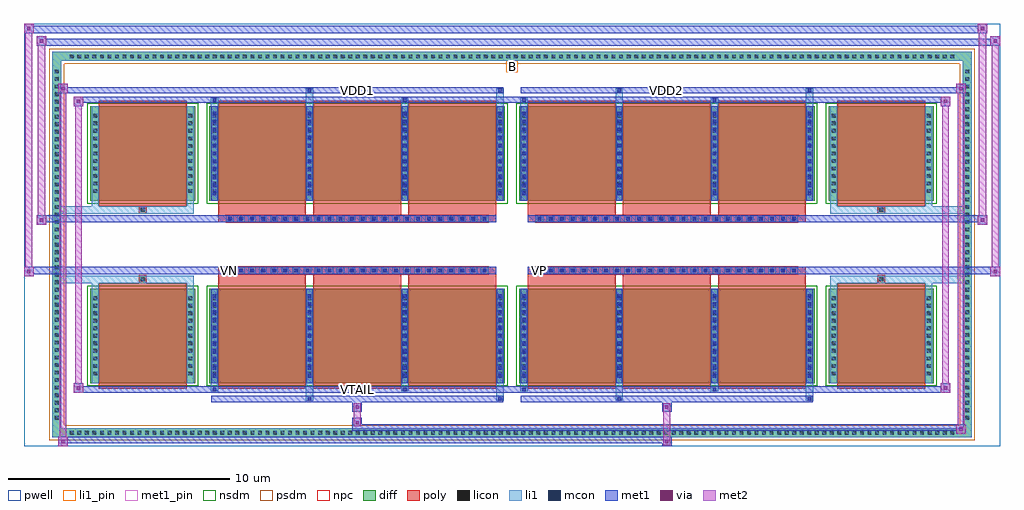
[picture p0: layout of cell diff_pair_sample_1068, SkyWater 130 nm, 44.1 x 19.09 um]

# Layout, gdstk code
import gdstk
lib = gdstk.Library(unit=1e-6, precision=5e-09)
def R(c, l, rs):  # rectangles x0, y0, x1, y1
    for r in rs: c.add(gdstk.rectangle(r[:2], r[2:], *l))
def A(c, l, x, y, w, h, nx, ny, dx, dy):  # array of equal rectangles
    R(c, l, [(x+i*dx, y+j*dy, x+i*dx+w, y+j*dy+h) for i in range(nx) for j in range(ny)])
def P(c, l, *ps):  # polygons
    for p in ps: c.add(gdstk.Polygon(p, *l))
pwell = (64, 44)
diff = (65, 20)
poly = (66, 20)
licon = (66, 44)
li1_pin = (67, 16)
li1 = (67, 20)
mcon = (67, 44)
met1_pin = (68, 16)
met1 = (68, 20)
via = (68, 44)
met2 = (69, 20)
nsdm = (93, 44)
psdm = (94, 20)
npc = (95, 20)

diff_pair_sample_1068 = lib.new_cell('diff_pair_sample_1068')
R(diff_pair_sample_1068, pwell, [(-22.05,-9.11,22.05,9.98), (-19.37,-7.3,-0.01,-0.8), (0.01,-7.3,19.37,-0.8), (-19.37,0.8,-0.01,7.3), (0.01,0.8,19.37,7.3)])
A(diff_pair_sample_1068, diff, -20.095, -8.71, 0.41, 0.41, 118, 2, 0.34, 17.01)
A(diff_pair_sample_1068, diff, -20.78, -8.025, 0.41, 0.41, 1, 47, 0, 0.34)
A(diff_pair_sample_1068, diff, 20.37, -8.025, 0.41, 0.41, 1, 47, 0, 0.34)
R(diff_pair_sample_1068, diff, [(-20.095,-8.71,20.095,-8.3), (-20.78,-8.025,-20.37,8.025), (20.37,-8.025,20.78,8.025), (-19.06,-6.255,-14.31,-1.985), (-13.67,-6.255,-0.32,-1.985), (0.32,-6.255,13.67,-1.985), (14.31,-6.255,19.06,-1.985), (-19.06,1.985,-14.31,6.255), (-13.67,1.985,-0.32,6.255), (0.32,1.985,13.67,6.255), (14.31,1.985,19.06,6.255), (-20.095,8.3,20.095,8.71)])
P(diff_pair_sample_1068, diff, [(20.78,8.71),(-20.78,8.71),(-20.78,-8.3),(-20.37,-8.3),(-20.37,8.3),(20.37,8.3),(20.37,-8.3),(-20.37,-8.3),(-20.78,-8.3),(-20.78,-8.71),(20.78,-8.71)])
A(diff_pair_sample_1068, poly, -13.28, -6.505, 3.97, 4.77, 3, 2, 4.3, 8.24)
A(diff_pair_sample_1068, poly, 0.71, -6.505, 3.97, 4.77, 3, 2, 4.3, 8.24)
A(diff_pair_sample_1068, poly, -13.28, -1.735, 3.97, 0.405, 3, 2, 4.3, 3.065)
A(diff_pair_sample_1068, poly, 0.71, -1.735, 3.97, 0.405, 3, 2, 4.3, 3.065)
A(diff_pair_sample_1068, poly, -12.91, -1.33, 0.33, 0.33, 24, 2, 0.5, 2.33)
A(diff_pair_sample_1068, poly, 1.08, -1.33, 0.33, 0.33, 24, 2, 0.5, 2.33)
R(diff_pair_sample_1068, poly, [(-18.67,-6.505,-14.7,-1.735), (14.7,-6.505,18.67,-1.735), (-16.85,-1.735,-16.52,-1.405), (-16.85,-1.735,-16.52,-1.405), (16.52,-1.735,16.85,-1.405), (16.52,-1.735,16.85,-1.405), (-13.28,-1.33,-0.71,-1), (0.71,-1.33,13.28,-1), (-13.28,1,-0.71,1.33), (0.71,1,13.28,1.33), (-16.85,1.405,-16.52,1.735), (-16.85,1.405,-16.52,1.735), (16.52,1.405,16.85,1.735), (16.52,1.405,16.85,1.735), (-18.67,1.735,-14.7,6.505), (14.7,1.735,18.67,6.505)])
A(diff_pair_sample_1068, licon, -19.975, -8.59, 0.17, 0.17, 118, 2, 0.34, 17.01)
A(diff_pair_sample_1068, licon, -20.66, -7.905, 0.17, 0.17, 1, 47, 0, 0.34)
A(diff_pair_sample_1068, licon, 20.49, -7.905, 0.17, 0.17, 1, 47, 0, 0.34)
A(diff_pair_sample_1068, licon, -18.92, -5.905, 0.17, 0.17, 1, 11, 0, 0.34)
A(diff_pair_sample_1068, licon, -14.62, -5.905, 0.17, 0.17, 1, 11, 0, 0.34)
A(diff_pair_sample_1068, licon, -13.53, -5.905, 0.17, 0.17, 4, 11, 4.3, 0.34)
A(diff_pair_sample_1068, licon, 0.46, -5.905, 0.17, 0.17, 4, 11, 4.3, 0.34)
A(diff_pair_sample_1068, licon, 14.45, -5.905, 0.17, 0.17, 1, 11, 0, 0.34)
A(diff_pair_sample_1068, licon, 18.75, -5.905, 0.17, 0.17, 1, 11, 0, 0.34)
A(diff_pair_sample_1068, licon, -12.83, -1.25, 0.17, 0.17, 24, 2, 0.5, 2.33)
A(diff_pair_sample_1068, licon, 1.16, -1.25, 0.17, 0.17, 24, 2, 0.5, 2.33)
A(diff_pair_sample_1068, licon, -18.92, 2.335, 0.17, 0.17, 1, 11, 0, 0.34)
A(diff_pair_sample_1068, licon, -14.62, 2.335, 0.17, 0.17, 1, 11, 0, 0.34)
A(diff_pair_sample_1068, licon, -13.53, 2.335, 0.17, 0.17, 4, 11, 4.3, 0.34)
A(diff_pair_sample_1068, licon, 0.46, 2.335, 0.17, 0.17, 4, 11, 4.3, 0.34)
A(diff_pair_sample_1068, licon, 14.45, 2.335, 0.17, 0.17, 1, 11, 0, 0.34)
A(diff_pair_sample_1068, licon, 18.75, 2.335, 0.17, 0.17, 1, 11, 0, 0.34)
R(diff_pair_sample_1068, licon, [(-16.77,-1.655,-16.6,-1.485), (16.6,-1.655,16.77,-1.485), (-16.77,1.485,-16.6,1.655), (16.6,1.485,16.77,1.655)])
R(diff_pair_sample_1068, li1_pin, [(-0.25,7.8,0.25,8.3)])
A(diff_pair_sample_1068, li1, -20.055, -8.67, 0.33, 0.33, 118, 2, 0.34, 17.01)
A(diff_pair_sample_1068, li1, -20.74, -7.985, 0.33, 0.33, 1, 47, 0, 0.34)
A(diff_pair_sample_1068, li1, 20.41, -7.985, 0.33, 0.33, 1, 47, 0, 0.34)
A(diff_pair_sample_1068, li1, -13.61, -6.255, 0.33, 4.27, 4, 2, 4.3, 8.24)
A(diff_pair_sample_1068, li1, 0.38, -6.255, 0.33, 4.27, 4, 2, 4.3, 8.24)
A(diff_pair_sample_1068, li1, -13.53, -6.005, 0.17, 0.17, 4, 11, 4.3, 0.36)
A(diff_pair_sample_1068, li1, -13.53, -6.005, 0.17, 3.77, 4, 2, 4.3, 8.24)
A(diff_pair_sample_1068, li1, 0.46, -6.005, 0.17, 0.17, 4, 11, 4.3, 0.36)
A(diff_pair_sample_1068, li1, 0.46, -6.005, 0.17, 3.77, 4, 2, 4.3, 8.24)
A(diff_pair_sample_1068, li1, -19, -5.985, 0.33, 0.33, 1, 11, 0, 0.34)
A(diff_pair_sample_1068, li1, -14.7, -5.985, 0.33, 0.33, 1, 11, 0, 0.34)
A(diff_pair_sample_1068, li1, -13.61, -5.985, 0.33, 0.33, 4, 11, 4.3, 0.34)
A(diff_pair_sample_1068, li1, 0.38, -5.985, 0.33, 0.33, 4, 11, 4.3, 0.34)
A(diff_pair_sample_1068, li1, 14.37, -5.985, 0.33, 0.33, 1, 11, 0, 0.34)
A(diff_pair_sample_1068, li1, 18.67, -5.985, 0.33, 0.33, 1, 11, 0, 0.34)
A(diff_pair_sample_1068, li1, -12.91, -1.33, 0.33, 0.33, 24, 2, 0.5, 2.33)
A(diff_pair_sample_1068, li1, 1.08, -1.33, 0.33, 0.33, 24, 2, 0.5, 2.33)
A(diff_pair_sample_1068, li1, -13.53, 2.235, 0.17, 0.17, 4, 11, 4.3, 0.36)
A(diff_pair_sample_1068, li1, 0.46, 2.235, 0.17, 0.17, 4, 11, 4.3, 0.36)
A(diff_pair_sample_1068, li1, -19, 2.255, 0.33, 0.33, 1, 11, 0, 0.34)
A(diff_pair_sample_1068, li1, -14.7, 2.255, 0.33, 0.33, 1, 11, 0, 0.34)
A(diff_pair_sample_1068, li1, -13.61, 2.255, 0.33, 0.33, 4, 11, 4.3, 0.34)
A(diff_pair_sample_1068, li1, 0.38, 2.255, 0.33, 0.33, 4, 11, 4.3, 0.34)
A(diff_pair_sample_1068, li1, 14.37, 2.255, 0.33, 0.33, 1, 11, 0, 0.34)
A(diff_pair_sample_1068, li1, 18.67, 2.255, 0.33, 0.33, 1, 11, 0, 0.34)
R(diff_pair_sample_1068, li1, [(-20.78,-8.71,-20.37,-8.3), (-20.78,-8.71,-20.37,-8.3), (-20.37,-8.71,20.37,-8.3), (20.37,-8.71,20.78,-8.3), (20.37,-8.71,20.78,-8.3), (-20.78,-8.3,-20.37,8.3), (20.37,-8.3,20.78,8.3), (-9.31,-7.06,-8.98,-6.255), (-9.23,-7.06,-9.06,-6.89), (-0.71,-7.06,-0.38,-6.255), (-0.63,-7.06,-0.46,-6.89), (4.68,-7.06,5.01,-6.255), (4.76,-7.06,4.93,-6.89), (13.28,-7.06,13.61,-6.255), (13.36,-7.06,13.53,-6.89), (-13.61,-6.63,-13.28,-6.255), (-13.53,-6.63,-13.36,-6.46), (-5.01,-6.63,-4.68,-6.255), (-4.93,-6.63,-4.76,-6.46), (0.38,-6.63,0.71,-6.255), (0.46,-6.63,0.63,-6.46), (8.98,-6.63,9.31,-6.255), (9.06,-6.63,9.23,-6.46), (-19,-6.255,-18.67,-1.985), (-14.7,-6.255,-14.37,-1.985), (14.37,-6.255,14.7,-1.985), (18.67,-6.255,19,-1.985), (-19,-1.985,-18.67,-1.405), (-14.7,-1.985,-14.37,-1.405), (14.37,-1.985,14.7,-1.405), (18.67,-1.985,19,-1.405), (-20.78,-1.735,-16.85,-1.405), (-19,-1.735,-16.85,-1.405), (-16.85,-1.735,-16.52,-1.405), (-16.52,-1.735,-14.37,-1.405), (14.37,-1.735,16.52,-1.405), (16.52,-1.735,16.85,-1.405), (16.52,-1.735,20.78,-1.405), (16.85,-1.735,19,-1.405), (-20.78,1.405,-16.85,1.735), (-19,1.405,-16.85,1.735), (-19,1.405,-18.67,1.985), (-16.85,1.405,-16.52,1.735), (-16.52,1.405,-14.37,1.735), (-14.7,1.405,-14.37,1.985), (14.37,1.405,16.52,1.735), (14.37,1.405,14.7,1.985), (16.52,1.405,16.85,1.735), (16.52,1.405,20.78,1.735), (16.85,1.405,19,1.735), (18.67,1.405,19,1.985), (-19,1.985,-18.67,6.255), (-14.7,1.985,-14.37,6.255), (14.37,1.985,14.7,6.255), (18.67,1.985,19,6.255), (-13.61,6.255,-13.28,6.63), (-9.31,6.255,-8.98,7.06), (-5.01,6.255,-4.68,6.63), (-0.71,6.255,-0.38,7.06), (0.38,6.255,0.71,6.63), (4.68,6.255,5.01,7.06), (8.98,6.255,9.31,6.63), (13.28,6.255,13.61,7.06), (-13.53,6.46,-13.36,6.63), (-4.93,6.46,-4.76,6.63), (0.46,6.46,0.63,6.63), (9.06,6.46,9.23,6.63), (-9.23,6.89,-9.06,7.06), (-0.63,6.89,-0.46,7.06), (4.76,6.89,4.93,7.06), (13.36,6.89,13.53,7.06), (-20.78,8.3,-20.37,8.71), (-20.78,8.3,-20.37,8.71), (-20.37,8.3,20.37,8.71), (20.37,8.3,20.78,8.71), (20.37,8.3,20.78,8.71)])
A(diff_pair_sample_1068, mcon, -13.53, -6.005, 0.17, 0.17, 4, 11, 4.3, 0.36)
A(diff_pair_sample_1068, mcon, 0.46, -6.005, 0.17, 0.17, 4, 11, 4.3, 0.36)
A(diff_pair_sample_1068, mcon, -12.83, -1.25, 0.17, 0.17, 24, 2, 0.5, 2.33)
A(diff_pair_sample_1068, mcon, 1.16, -1.25, 0.17, 0.17, 24, 2, 0.5, 2.33)
A(diff_pair_sample_1068, mcon, -13.53, 2.235, 0.17, 0.17, 4, 11, 4.3, 0.36)
A(diff_pair_sample_1068, mcon, 0.46, 2.235, 0.17, 0.17, 4, 11, 4.3, 0.36)
R(diff_pair_sample_1068, mcon, [(-9.23,-7.06,-9.06,-6.89), (-0.63,-7.06,-0.46,-6.89), (4.76,-7.06,4.93,-6.89), (13.36,-7.06,13.53,-6.89), (-13.53,-6.63,-13.36,-6.46), (-4.93,-6.63,-4.76,-6.46), (0.46,-6.63,0.63,-6.46), (9.06,-6.63,9.23,-6.46), (-13.53,6.46,-13.36,6.63), (-4.93,6.46,-4.76,6.63), (0.46,6.46,0.63,6.63), (9.06,6.46,9.23,6.63), (-9.23,6.89,-9.06,7.06), (-0.63,6.89,-0.46,7.06), (4.76,6.89,4.93,7.06), (13.36,6.89,13.53,7.06)])
R(diff_pair_sample_1068, met1_pin, [(-7.13,-6.67,-6.86,-6.4), (-12.88,-1.29,-12.61,-1.02), (1.11,-1.29,1.38,-1.02), (-7.13,6.85,-6.86,7.12), (6.86,6.85,7.13,7.12)])
A(diff_pair_sample_1068, met1, -13.59, -6.255, 0.29, 4.27, 4, 2, 4.3, 8.24)
A(diff_pair_sample_1068, met1, 0.4, -6.255, 0.29, 4.27, 4, 2, 4.3, 8.24)
A(diff_pair_sample_1068, met1, -13.59, -6.065, 0.29, 0.29, 4, 11, 4.3, 0.36)
A(diff_pair_sample_1068, met1, 0.4, -6.065, 0.29, 0.29, 4, 11, 4.3, 0.36)
A(diff_pair_sample_1068, met1, -12.89, -1.31, 0.29, 0.29, 24, 2, 0.5, 2.33)
A(diff_pair_sample_1068, met1, 1.1, -1.31, 0.29, 0.29, 24, 2, 0.5, 2.33)
A(diff_pair_sample_1068, met1, -13.59, 2.175, 0.29, 0.29, 4, 11, 4.3, 0.36)
A(diff_pair_sample_1068, met1, 0.4, 2.175, 0.29, 0.29, 4, 11, 4.3, 0.36)
R(diff_pair_sample_1068, met1, [(-20.51,-9.11,-20.08,-8.68), (6.78,-9.11,7.21,-8.68), (-20.51,-8.97,7.21,-8.68), (20.08,-8.54,20.51,-8.11), (-7.21,-8.4,20.51,-8.11), (-7.21,-8.26,-6.78,-7.83), (-7.21,-7.55,-6.78,-7.12), (6.78,-7.55,7.21,-7.12), (-13.59,-7.12,-0.4,-6.83), (-9.29,-7.12,-9,-6.83), (-0.69,-7.12,-0.4,-6.83), (0.4,-7.12,13.59,-6.83), (4.7,-7.12,4.99,-6.83), (13.3,-7.12,13.59,-6.83), (-19.8,-6.69,-19.37,-6.26), (-19.8,-6.69,-13.59,-6.4), (-13.59,-6.69,-13.3,-6.4), (-13.59,-6.69,-0.4,-6.4), (-4.99,-6.69,-4.7,-6.4), (-0.4,-6.69,0.4,-6.4), (0.4,-6.69,0.69,-6.4), (0.4,-6.69,13.59,-6.4), (9,-6.69,9.29,-6.4), (13.59,-6.69,19.8,-6.4), (19.37,-6.69,19.8,-6.26), (-22.05,-1.43,-21.62,-1), (21.62,-1.43,22.05,-1), (-22.05,-1.33,-0.71,-1), (-13.28,-1.33,-0.71,-1), (0.71,-1.33,13.28,-1), (0.71,-1.33,22.05,-1), (-21.48,0.9,-21.05,1.33), (21.05,0.9,21.48,1.33), (-21.48,1,-13.28,1.33), (-13.28,1,-0.71,1.33), (0.71,1,13.28,1.33), (13.28,1,21.48,1.33), (-19.8,6.26,-19.37,6.69), (19.37,6.26,19.8,6.69), (-19.8,6.4,-13.59,6.69), (-13.59,6.4,-13.3,6.69), (-13.59,6.4,-0.4,6.69), (-4.99,6.4,-4.7,6.69), (-0.4,6.4,0.4,6.69), (0.4,6.4,0.69,6.69), (0.4,6.4,13.59,6.69), (9,6.4,9.29,6.69), (13.59,6.4,19.8,6.69), (-20.51,6.83,-20.08,7.26), (-20.51,6.83,-13.59,7.12), (-13.59,6.83,-0.4,7.12), (-9.29,6.83,-9,7.12), (-0.69,6.83,-0.4,7.12), (0.4,6.83,13.59,7.12), (4.7,6.83,4.99,7.12), (13.3,6.83,13.59,7.12), (13.59,6.83,20.51,7.12), (20.08,6.83,20.51,7.26), (-21.48,8.98,-21.05,9.41), (-21.48,8.98,-19.37,9.31), (-19.37,8.98,19.37,9.31), (19.37,8.98,22.05,9.31), (21.62,8.98,22.05,9.41), (-22.05,9.55,-21.62,9.98), (-22.05,9.55,-19.37,9.88), (-19.37,9.55,19.37,9.88), (19.37,9.55,21.48,9.88), (21.05,9.55,21.48,9.98)])
R(diff_pair_sample_1068, via, [(-20.37,-8.97,-20.22,-8.82), (6.92,-8.97,7.07,-8.82), (20.22,-8.4,20.37,-8.25), (-7.07,-8.12,-6.92,-7.97), (-7.07,-7.41,-6.92,-7.26), (6.92,-7.41,7.07,-7.26), (-19.66,-6.55,-19.51,-6.4), (19.51,-6.55,19.66,-6.4), (-21.91,-1.29,-21.76,-1.14), (21.76,-1.29,21.91,-1.14), (-21.34,1.04,-21.19,1.19), (21.19,1.04,21.34,1.19), (-19.66,6.4,-19.51,6.55), (19.51,6.4,19.66,6.55), (-20.37,6.97,-20.22,7.12), (20.22,6.97,20.37,7.12), (-21.34,9.12,-21.19,9.27), (21.76,9.12,21.91,9.27), (-21.91,9.69,-21.76,9.84), (21.19,9.69,21.34,9.84)])
R(diff_pair_sample_1068, met2, [(-20.51,-9.11,-20.08,-8.68), (-20.44,-9.11,-20.15,7.26), (-20.15,-9.11,-20.08,-8.68), (-20.46,-9.06,-20.13,-8.73), (6.83,-9.06,7.16,-8.73), (6.83,-8.73,7.16,-7.5), (20.08,-8.54,20.51,-8.11), (20.15,-8.54,20.44,7.26), (20.44,-8.54,20.51,-8.11), (20.13,-8.49,20.46,-8.16), (-7.16,-8.21,-6.83,-7.88), (-7.16,-7.88,-6.83,-7.5), (-7.16,-7.5,-6.83,-7.17), (6.83,-7.5,7.16,-7.17), (-19.8,-6.69,-19.37,-6.26), (-19.73,-6.69,-19.44,6.69), (-19.44,-6.69,-19.37,-6.26), (19.37,-6.69,19.8,-6.26), (19.44,-6.69,19.73,6.69), (19.73,-6.69,19.8,-6.26), (-19.75,-6.64,-19.42,-6.31), (19.42,-6.64,19.75,-6.31), (-22.05,-1.43,-21.62,-1), (-22,-1.43,-21.67,9.98), (-21.67,-1.43,-21.62,-1), (21.62,-1.43,22.05,-1), (21.67,-1.43,22,9.41), (22,-1.43,22.05,-1), (-22,-1.38,-21.67,-1.05), (21.67,-1.38,22,-1.05), (-21.48,0.9,-21.05,1.33), (-21.43,0.9,-21.1,9.41), (-21.1,0.9,-21.05,1.33), (21.05,0.9,21.48,1.33), (21.1,0.9,21.43,9.98), (21.43,0.9,21.48,1.33), (-21.43,0.95,-21.1,1.28), (21.1,0.95,21.43,1.28), (-19.8,6.26,-19.37,6.69), (-19.44,6.26,-19.37,6.69), (19.37,6.26,19.8,6.69), (19.73,6.26,19.8,6.69), (-19.75,6.31,-19.42,6.64), (19.42,6.31,19.75,6.64), (-20.51,6.83,-20.08,7.26), (-20.15,6.83,-20.08,7.26), (20.08,6.83,20.51,7.26), (20.44,6.83,20.51,7.26), (-20.46,6.88,-20.13,7.21), (20.13,6.88,20.46,7.21), (-21.48,8.98,-21.05,9.41), (-21.1,8.98,-21.05,9.41), (21.62,8.98,22.05,9.41), (22,8.98,22.05,9.41), (-21.43,9.03,-21.1,9.36), (21.67,9.03,22,9.36), (-22.05,9.55,-21.62,9.98), (-21.67,9.55,-21.62,9.98), (21.05,9.55,21.48,9.98), (21.43,9.55,21.48,9.98), (-22,9.6,-21.67,9.93), (21.1,9.6,21.43,9.93)])
R(diff_pair_sample_1068, nsdm, [(-19.19,-6.385,-14.18,-1.855), (-13.8,-6.385,-0.19,-1.855), (0.19,-6.385,13.8,-1.855), (14.18,-6.385,19.19,-1.855), (-19.19,1.855,-14.18,6.385), (-13.8,1.855,-0.19,6.385), (0.19,1.855,13.8,6.385), (14.18,1.855,19.19,6.385)])
P(diff_pair_sample_1068, psdm, [(20.91,8.84),(-20.91,8.84),(-20.91,-8.17),(-20.24,-8.17),(-20.24,8.17),(20.24,8.17),(20.24,-8.17),(-20.24,-8.17),(-20.91,-8.17),(-20.91,-8.84),(20.91,-8.84)])
A(diff_pair_sample_1068, npc, -12.93, -1.35, 0.37, 0.37, 24, 2, 0.5, 2.33)
A(diff_pair_sample_1068, npc, 1.06, -1.35, 0.37, 0.37, 24, 2, 0.5, 2.33)
R(diff_pair_sample_1068, npc, [(-16.87,-1.755,-16.5,-1.385), (16.5,-1.755,16.87,-1.385), (-12.93,-1.35,-12.06,-0.98), (-12.93,-1.35,-12.06,-0.98), (-12.43,-1.35,-11.56,-0.98), (-12.43,-1.35,-11.56,-0.98), (-11.93,-1.35,-11.06,-0.98), (-11.93,-1.35,-11.06,-0.98), (-11.43,-1.35,-10.56,-0.98), (-11.43,-1.35,-10.56,-0.98), (-10.93,-1.35,-10.06,-0.98), (-10.93,-1.35,-10.06,-0.98), (-10.43,-1.35,-9.56,-0.98), (-10.43,-1.35,-9.56,-0.98), (-9.93,-1.35,-9.06,-0.98), (-9.93,-1.35,-9.06,-0.98), (-9.43,-1.35,-8.56,-0.98), (-9.43,-1.35,-8.56,-0.98), (-8.93,-1.35,-8.06,-0.98), (-8.93,-1.35,-8.06,-0.98), (-8.43,-1.35,-7.56,-0.98), (-8.43,-1.35,-7.56,-0.98), (-7.93,-1.35,-7.06,-0.98), (-7.93,-1.35,-7.06,-0.98), (-7.43,-1.35,-6.56,-0.98), (-7.43,-1.35,-6.56,-0.98), (-6.93,-1.35,-6.06,-0.98), (-6.93,-1.35,-6.06,-0.98), (-6.43,-1.35,-5.56,-0.98), (-6.43,-1.35,-5.56,-0.98), (-5.93,-1.35,-5.06,-0.98), (-5.93,-1.35,-5.06,-0.98), (-5.43,-1.35,-4.56,-0.98), (-5.43,-1.35,-4.56,-0.98), (-4.93,-1.35,-4.06,-0.98), (-4.93,-1.35,-4.06,-0.98), (-4.43,-1.35,-3.56,-0.98), (-4.43,-1.35,-3.56,-0.98), (-3.93,-1.35,-3.06,-0.98), (-3.93,-1.35,-3.06,-0.98), (-3.43,-1.35,-2.56,-0.98), (-3.43,-1.35,-2.56,-0.98), (-2.93,-1.35,-2.06,-0.98), (-2.93,-1.35,-2.06,-0.98), (-2.43,-1.35,-1.56,-0.98), (-2.43,-1.35,-1.56,-0.98), (-1.93,-1.35,-1.06,-0.98), (-1.93,-1.35,-1.06,-0.98), (1.06,-1.35,1.93,-0.98), (1.06,-1.35,1.93,-0.98), (1.56,-1.35,2.43,-0.98), (1.56,-1.35,2.43,-0.98), (2.06,-1.35,2.93,-0.98), (2.06,-1.35,2.93,-0.98), (2.56,-1.35,3.43,-0.98), (2.56,-1.35,3.43,-0.98), (3.06,-1.35,3.93,-0.98), (3.06,-1.35,3.93,-0.98), (3.56,-1.35,4.43,-0.98), (3.56,-1.35,4.43,-0.98), (4.06,-1.35,4.93,-0.98), (4.06,-1.35,4.93,-0.98), (4.56,-1.35,5.43,-0.98), (4.56,-1.35,5.43,-0.98), (5.06,-1.35,5.93,-0.98), (5.06,-1.35,5.93,-0.98), (5.56,-1.35,6.43,-0.98), (5.56,-1.35,6.43,-0.98), (6.06,-1.35,6.93,-0.98), (6.06,-1.35,6.93,-0.98), (6.56,-1.35,7.43,-0.98), (6.56,-1.35,7.43,-0.98), (7.06,-1.35,7.93,-0.98), (7.06,-1.35,7.93,-0.98), (7.56,-1.35,8.43,-0.98), (7.56,-1.35,8.43,-0.98), (8.06,-1.35,8.93,-0.98), (8.06,-1.35,8.93,-0.98), (8.56,-1.35,9.43,-0.98), (8.56,-1.35,9.43,-0.98), (9.06,-1.35,9.93,-0.98), (9.06,-1.35,9.93,-0.98), (9.56,-1.35,10.43,-0.98), (9.56,-1.35,10.43,-0.98), (10.06,-1.35,10.93,-0.98), (10.06,-1.35,10.93,-0.98), (10.56,-1.35,11.43,-0.98), (10.56,-1.35,11.43,-0.98), (11.06,-1.35,11.93,-0.98), (11.06,-1.35,11.93,-0.98), (11.56,-1.35,12.43,-0.98), (11.56,-1.35,12.43,-0.98), (12.06,-1.35,12.93,-0.98), (12.06,-1.35,12.93,-0.98), (-12.93,0.98,-12.06,1.35), (-12.93,0.98,-12.06,1.35), (-12.43,0.98,-11.56,1.35), (-12.43,0.98,-11.56,1.35), (-11.93,0.98,-11.06,1.35), (-11.93,0.98,-11.06,1.35), (-11.43,0.98,-10.56,1.35), (-11.43,0.98,-10.56,1.35), (-10.93,0.98,-10.06,1.35), (-10.93,0.98,-10.06,1.35), (-10.43,0.98,-9.56,1.35), (-10.43,0.98,-9.56,1.35), (-9.93,0.98,-9.06,1.35), (-9.93,0.98,-9.06,1.35), (-9.43,0.98,-8.56,1.35), (-9.43,0.98,-8.56,1.35), (-8.93,0.98,-8.06,1.35), (-8.93,0.98,-8.06,1.35), (-8.43,0.98,-7.56,1.35), (-8.43,0.98,-7.56,1.35), (-7.93,0.98,-7.06,1.35), (-7.93,0.98,-7.06,1.35), (-7.43,0.98,-6.56,1.35), (-7.43,0.98,-6.56,1.35), (-6.93,0.98,-6.06,1.35), (-6.93,0.98,-6.06,1.35), (-6.43,0.98,-5.56,1.35), (-6.43,0.98,-5.56,1.35), (-5.93,0.98,-5.06,1.35), (-5.93,0.98,-5.06,1.35), (-5.43,0.98,-4.56,1.35), (-5.43,0.98,-4.56,1.35), (-4.93,0.98,-4.06,1.35), (-4.93,0.98,-4.06,1.35), (-4.43,0.98,-3.56,1.35), (-4.43,0.98,-3.56,1.35), (-3.93,0.98,-3.06,1.35), (-3.93,0.98,-3.06,1.35), (-3.43,0.98,-2.56,1.35), (-3.43,0.98,-2.56,1.35), (-2.93,0.98,-2.06,1.35), (-2.93,0.98,-2.06,1.35), (-2.43,0.98,-1.56,1.35), (-2.43,0.98,-1.56,1.35), (-1.93,0.98,-1.06,1.35), (-1.93,0.98,-1.06,1.35), (1.06,0.98,1.93,1.35), (1.06,0.98,1.93,1.35), (1.56,0.98,2.43,1.35), (1.56,0.98,2.43,1.35), (2.06,0.98,2.93,1.35), (2.06,0.98,2.93,1.35), (2.56,0.98,3.43,1.35), (2.56,0.98,3.43,1.35), (3.06,0.98,3.93,1.35), (3.06,0.98,3.93,1.35), (3.56,0.98,4.43,1.35), (3.56,0.98,4.43,1.35), (4.06,0.98,4.93,1.35), (4.06,0.98,4.93,1.35), (4.56,0.98,5.43,1.35), (4.56,0.98,5.43,1.35), (5.06,0.98,5.93,1.35), (5.06,0.98,5.93,1.35), (5.56,0.98,6.43,1.35), (5.56,0.98,6.43,1.35), (6.06,0.98,6.93,1.35), (6.06,0.98,6.93,1.35), (6.56,0.98,7.43,1.35), (6.56,0.98,7.43,1.35), (7.06,0.98,7.93,1.35), (7.06,0.98,7.93,1.35), (7.56,0.98,8.43,1.35), (7.56,0.98,8.43,1.35), (8.06,0.98,8.93,1.35), (8.06,0.98,8.93,1.35), (8.56,0.98,9.43,1.35), (8.56,0.98,9.43,1.35), (9.06,0.98,9.93,1.35), (9.06,0.98,9.93,1.35), (9.56,0.98,10.43,1.35), (9.56,0.98,10.43,1.35), (10.06,0.98,10.93,1.35), (10.06,0.98,10.93,1.35), (10.56,0.98,11.43,1.35), (10.56,0.98,11.43,1.35), (11.06,0.98,11.93,1.35), (11.06,0.98,11.93,1.35), (11.56,0.98,12.43,1.35), (11.56,0.98,12.43,1.35), (12.06,0.98,12.93,1.35), (12.06,0.98,12.93,1.35), (-16.87,1.385,-16.5,1.755), (16.5,1.385,16.87,1.755)])
diff_pair_sample_1068.add(gdstk.Label('VTAIL', (-6.995,-6.535), layer=68, texttype=5))
diff_pair_sample_1068.add(gdstk.Label('VN', (-12.745,-1.155), layer=68, texttype=5))
diff_pair_sample_1068.add(gdstk.Label('VP', (1.245,-1.155), layer=68, texttype=5))
diff_pair_sample_1068.add(gdstk.Label('B', (0,8.05), layer=67, texttype=5))
diff_pair_sample_1068.add(gdstk.Label('VDD2', (6.995,6.985), layer=68, texttype=5))
diff_pair_sample_1068.add(gdstk.Label('VDD1', (-6.995,6.985), layer=68, texttype=5))

lib.write_gds('diff_pair_sample_1068.gds')
